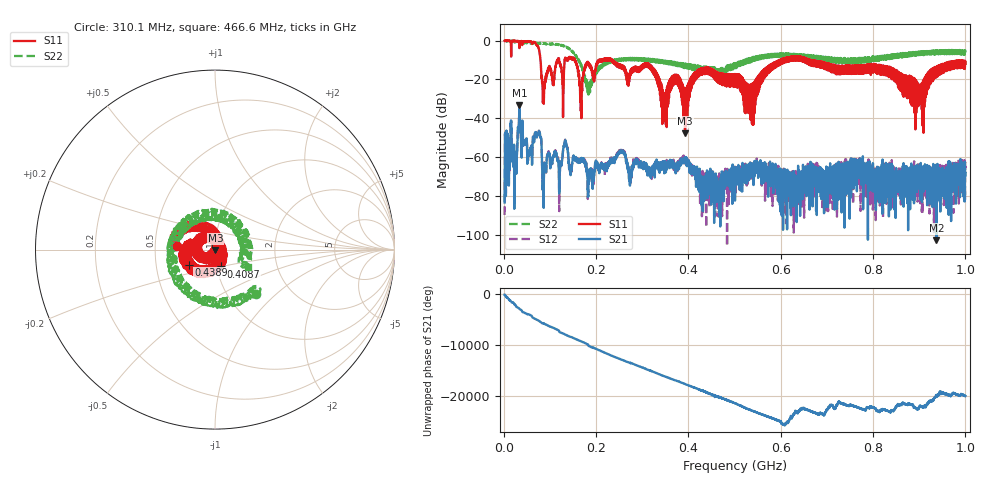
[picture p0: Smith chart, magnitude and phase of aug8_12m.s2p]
!Keysight Technologies N9923A: A.12.45
!Date: Friday, 08 August 2025 17:35:27
!Timezone: (UTC+08:00) Kuala Lumpur, Singapore
!Model: N9923A
!Serial: MY61181427
!GPS Latitude:
!GPS Longitude:
!GPS TimeStamp: 0001-01-01 00:00:00Z
!GPS Seconds Since Last Read: 0
!CHECKSUM:1309975169
!Correction: S11(ON U)S21(ON U)S12(ON U)S22(ON U)
!S2P File: Measurements:S11,S21,S12,S22:
# Hz S DB R 50
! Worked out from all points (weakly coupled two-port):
!   4001 points, 2 MHz to 1 GHz, reference 50 ohm
!   highest |S21| = -33.15 dB at 34.19 MHz (marker M1); lowest = -102.6 dB at 937.4 MHz (marker M2)
!   lowest |S11| = -47.6 dB at 392.7 MHz (marker M3), VSWR 1.01, Z = 50.3 - j0.332 ohm
!   |S11| at or under -10 dB: 155 MHz to 206 MHz (50.94 MHz wide, 28.2 % of centre); 234.5 MHz to 597.8 MHz (363.3 MHz wide, 87.3 % of centre); 667.2 MHz to end of sweep (the widest 3 of 69)
!   |S22| runs from -27.7 to 0.0 dB; largest |S21 - S12| = 0.0012
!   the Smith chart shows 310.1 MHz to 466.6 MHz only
!   S11 on the Smith chart (normalised r, x): 310.1 MHz: 0.65, +0.03; 408.7 MHz: 1.05, -0.20; 438.9 MHz: 0.73, -0.13; 466.6 MHz: 0.83, +0.08
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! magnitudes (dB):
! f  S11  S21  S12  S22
! 2 MHz  -0.1  -83.1  -89.5  0.0
! 34.19 MHz  -3.2  -33.2  -33.4  -0.9
! 76.85 MHz  -4.9  -46.8  -46.6  -1.5
! 87.83 MHz  -22.6  -66.2  -65.2  -1.4
! 133.5 MHz  -8.7  -51.4  -51.0  -3.3
! 145.2 MHz  -8.5  -66.8  -66.0  -5.0
! 168.4 MHz  -35.8  -61.3  -62.2  -13.2
! 180.6 MHz  -11.0  -69.0  -68.6  -24.5
! 255.7 MHz  -12.6  -57.2  -56.8  -10.3
! 310.1 MHz  -13.5  -65.0  -67.4  -9.5
! 334.8 MHz  -19.4  -64.5  -64.2  -11.3
! 392.7 MHz  -47.6  -61.0  -61.2  -11.9
! 408.7 MHz  -20.0  -67.0  -63.6  -15.0
! 438.9 MHz  -15.4  -77.7  -71.4  -16.1
! 466.6 MHz  -19.8  -73.5  -82.2  -13.7
! 501 MHz  -17.2  -82.1  -72.9  -14.3
! 536.7 MHz  -23.2  -69.9  -68.6  -10.1
! 667.4 MHz  -10.5  -79.7  -68.7  -8.3
! 833.8 MHz  -17.7  -68.6  -71.6  -8.2
! 904.4 MHz  -24.2  -69.8  -71.4  -7.3
! 937.4 MHz  -15.1  -102.6  -74.2  -5.4
! 1 GHz  -11.9  -67.9  -64.4  -6.1
